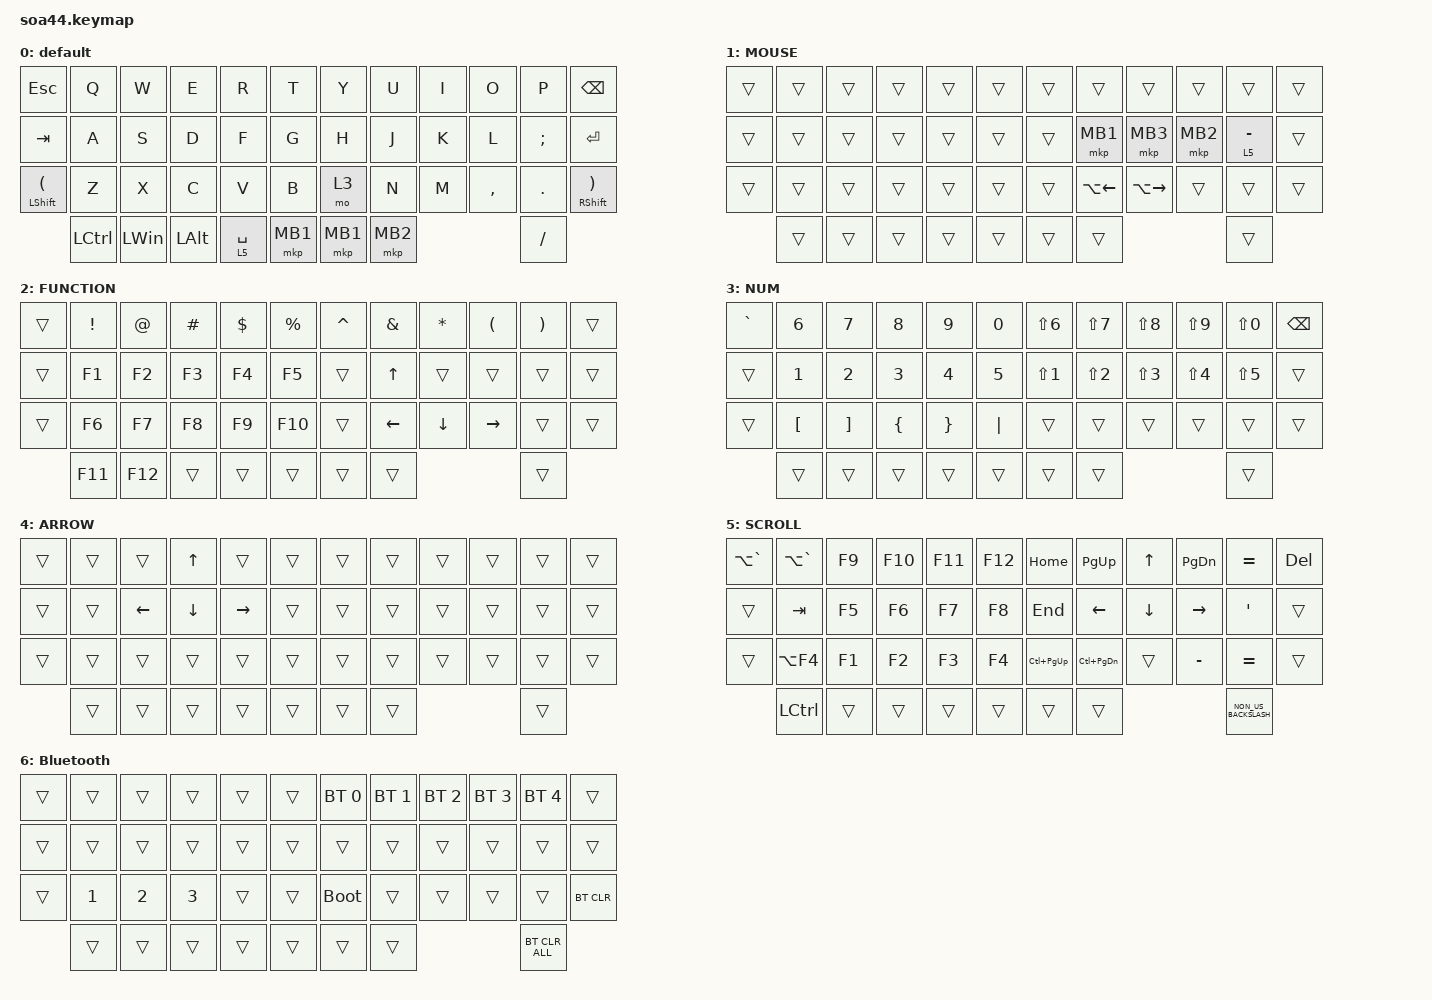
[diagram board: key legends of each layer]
#include <behaviors/rgbled_widget.dtsi>
#include <behaviors.dtsi>
#include <dt-bindings/zmk/bt.h>
#include <dt-bindings/zmk/keys.h>
#include <dt-bindings/zmk/pointing.h>

&mt {
    flavor = "balanced";
    quick-tap-ms = <0>;
};

/ {
    combos {
        compatible = "zmk,combos";

        tab {
            bindings = <&kp TAB>;
            key-positions = <11 12>;
        };

        double_quotation {
            bindings = <&kp DOUBLE_QUOTES>;
            key-positions = <20 21>;
        };

        MO6 {
            bindings = <&mo 6>;
            key-positions = <41 42>;
        };

        Grave {
            bindings = <&kp GRAVE>;
            key-positions = <13 1>;
        };
    };

    macros {
        to_layer_0: to_layer_0 {
            compatible = "zmk,behavior-macro-one-param";
            #binding-cells = <1>;
            bindings = <&to 0 &macro_param_1to1 &kp MACRO_PLACEHOLDER>;
            label = "TO_LAYER_0";
        };
    };

    behaviors {
        lt_to_layer_0: lt_to_layer_0 {
            compatible = "zmk,behavior-hold-tap";
            label = "LAYER_TAP_TO_0";
            bindings = <&mo>, <&to_layer_0>;

            #binding-cells = <2>;
            tapping-term-ms = <200>;
        };
    };

    keymap {
        compatible = "zmk,keymap";

        default {
            bindings = <
&kp ESCAPE                       &kp Q      &kp W         &kp E         &kp R        &kp T     &kp Y     &kp U     &kp I  &kp O      &kp P          &kp BACKSPACE
&kp TAB                          &kp A      &kp S         &kp D         &kp F        &kp G     &kp H     &kp J     &kp K  &kp L      &kp SEMICOLON  &kp ENTER
&mt LEFT_SHIFT LEFT_PARENTHESIS  &kp Z      &kp X         &kp C         &kp V        &kp B     &mo 3     &kp N     &kp M  &kp COMMA  &kp DOT        &mt RSHFT RIGHT_PARENTHESIS
                                 &kp LCTRL  &kp LEFT_WIN  &kp LEFT_ALT  &lt 5 SPACE  &mkp MB1  &mkp MB1  &mkp MB2                    &kp SLASH
            >;
        };

        MOUSE {
            bindings = <
&trans  &trans  &trans  &trans  &trans  &trans  &trans  &trans        &trans         &trans    &trans       &trans
&trans  &trans  &trans  &trans  &trans  &trans  &trans  &mkp MB1      &mkp MB3       &mkp MB2  &lt 5 MINUS  &trans
&trans  &trans  &trans  &trans  &trans  &trans  &trans  &kp LA(LEFT)  &kp LA(RIGHT)  &trans    &trans       &trans
        &trans  &trans  &trans  &trans  &trans  &trans  &trans                                 &trans
            >;
        };

        FUNCTION {
            bindings = <
&trans  &kp EXCLAMATION  &kp AT_SIGN  &kp HASH  &kp DOLLAR  &kp PERCENT  &kp CARET  &kp AMPERSAND  &kp ASTERISK  &kp LEFT_PARENTHESIS  &kp RIGHT_PARENTHESIS  &trans
&trans  &kp F1           &kp F2       &kp F3    &kp F4      &kp F5       &trans     &kp UP         &trans        &trans                &trans                 &trans
&trans  &kp F6           &kp F7       &kp F8    &kp F9      &kp F10      &trans     &kp LEFT       &kp DOWN      &kp RIGHT             &trans                 &trans
        &kp F11          &kp F12      &trans    &trans      &trans       &trans     &trans                                             &trans
            >;
        };

        NUM {
            bindings = <
&kp GRAVE  &kp NUMBER_6      &kp NUMBER_7       &kp NUMBER_8    &kp NUMBER_9     &kp NUMBER_0  &kp LS(N6)        &kp LS(N7)        &kp LS(N8)        &kp LS(N9)        &kp LS(N0)        &kp BACKSPACE
&trans     &kp NUMBER_1      &kp NUMBER_2       &kp NUMBER_3    &kp NUMBER_4     &kp NUMBER_5  &kp LS(NUMBER_1)  &kp LS(NUMBER_2)  &kp LS(NUMBER_3)  &kp LS(NUMBER_4)  &kp LS(NUMBER_5)  &trans
&trans     &kp LEFT_BRACKET  &kp RIGHT_BRACKET  &kp LEFT_BRACE  &kp RIGHT_BRACE  &kp PIPE      &trans            &trans            &trans            &trans            &trans            &trans
           &trans            &trans             &trans          &trans           &trans        &trans            &trans                                                &trans
            >;
        };

        ARROW {
            bindings = <
&trans  &trans  &trans    &kp UP    &trans     &trans  &trans  &trans  &trans  &trans  &trans  &trans
&trans  &trans  &kp LEFT  &kp DOWN  &kp RIGHT  &trans  &trans  &trans  &trans  &trans  &trans  &trans
&trans  &trans  &trans    &trans    &trans     &trans  &trans  &trans  &trans  &trans  &trans  &trans
        &trans  &trans    &trans    &trans     &trans  &trans  &trans                  &trans
            >;
        };

        SCROLL {
            bindings = <
&kp LA(GRAVE)  &kp LA(GRAVE)  &kp F9  &kp F10  &kp F11  &kp F12  &kp HOME         &kp PAGE_UP        &kp UP_ARROW    &kp PAGE_DOWN    &kp EQUAL             &kp DEL
&trans         &kp TAB        &kp F5  &kp F6   &kp F7   &kp F8   &kp END          &kp LEFT_ARROW     &kp DOWN_ARROW  &kp RIGHT_ARROW  &kp APOSTROPHE        &trans
&trans         &kp LA(F4)     &kp F1  &kp F2   &kp F3   &kp F4   &kp LC(PAGE_UP)  &kp LC(PAGE_DOWN)  &trans          &kp MINUS        &kp EQUAL             &trans
               &kp LCTRL      &trans  &trans   &trans   &trans   &trans           &trans                                              &kp NON_US_BACKSLASH
            >;
        };

        Bluetooth {
            bindings = <
&trans  &trans        &trans        &trans        &trans  &trans  &bt BT_SEL 0  &bt BT_SEL 1  &bt BT_SEL 2  &bt BT_SEL 3  &bt BT_SEL 4    &trans
&trans  &trans        &trans        &trans        &trans  &trans  &trans        &trans        &trans        &trans        &trans          &trans
&trans  &kp NUMBER_1  &kp NUMBER_2  &kp NUMBER_3  &trans  &trans  &bootloader   &trans        &trans        &trans        &trans          &bt BT_CLR
        &trans        &trans        &trans        &trans  &trans  &trans        &trans                                    &bt BT_CLR_ALL
            >;
        };
    };

    conditional_layers {
        compatible = "zmk,conditional-layers";

        Cond_SysLayor {
            if-layers = <5 3>;
            then-layer = <6>;
        };
    };
};
